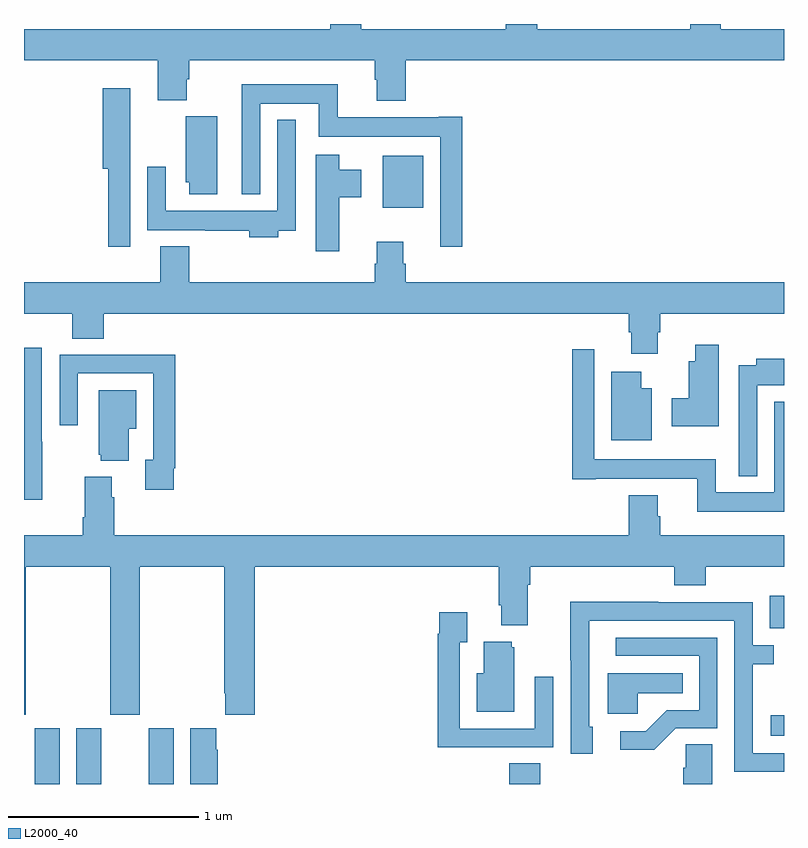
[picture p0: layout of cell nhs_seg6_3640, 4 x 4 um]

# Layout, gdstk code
import gdstk
lib = gdstk.Library(unit=1e-6, precision=1e-09)
def R(c, l, rs):  # rectangles x0, y0, x1, y1
    for r in rs: c.add(gdstk.rectangle(r[:2], r[2:], *l))
def P(c, l, *ps):  # polygons
    for p in ps: c.add(gdstk.Polygon(p, *l))
L2000_40 = (2000, 40)

nhs_seg6_3640 = lib.new_cell('nhs_seg6_3640')
R(nhs_seg6_3640, L2000_40, [(323.057,971.5,323.188,971.794), (323.276,971.5,323.407,971.794), (323.657,971.5,323.788,971.794), (325.553,971.5,325.718,971.609), (326.931,971.753,327,971.863), (326.925,972.321,327,972.49), (324.887,974.534,325.102,974.806)])
P(nhs_seg6_3640, L2000_40, [(325.01,975.308),(327,975.308),(327,975.472),(326.667,975.472),(326.667,975.5),(326.507,975.5),(326.507,975.472),(325.7,975.472),(325.7,975.5),(325.535,975.5),(325.535,975.472),(324.776,975.472),(324.776,975.5),(324.611,975.5),(324.611,975.472),(323,975.472),(323,975.308),(323.705,975.308),(323.705,975.1),(323.857,975.1),(323.857,975.209),(323.87,975.209),(323.87,975.308),(324.845,975.308),(324.845,975.207),(324.857,975.207),(324.857,975.095),(325.01,975.095)],
  [(325.307,975.013),(325.184,975.013),(325.184,975.01),(324.65,975.01),(324.65,975.184),(324.146,975.184),(324.146,974.603),(324.243,974.603),(324.243,975.08),(324.552,975.08),(324.552,974.906),(325.191,974.906),(325.191,974.328),(325.307,974.328)],
  [(323.559,974.842),(323.56,974.842),(323.56,975.163),(323.414,975.163),(323.414,974.738),(323.443,974.738),(323.443,974.328),(323.559,974.328)],
  [(324.016,975.015),(323.852,975.015),(323.852,974.667),(323.87,974.667),(323.87,974.604),(324.016,974.604)],
  [(324.337,974.412),(324.429,974.412),(324.429,974.995),(324.333,974.995),(324.333,974.518),(323.745,974.518),(323.745,974.749),(323.649,974.749),(323.649,974.414),(323.953,974.414),(323.953,974.412),(324.185,974.412),(324.185,974.378),(324.337,974.378)],
  [(324.658,974.587),(324.775,974.587),(324.775,974.734),(324.658,974.734),(324.658,974.812),(324.536,974.812),(324.536,974.304),(324.658,974.304)],
  [(326.335,973.878),(326.348,973.878),(326.348,973.976),(327,973.976),(327,974.14),(325.01,974.14),(325.01,974.238),(324.997,974.238),(324.997,974.353),(324.857,974.353),(324.857,974.238),(324.845,974.238),(324.845,974.14),(323.87,974.14),(323.87,974.329),(323.717,974.329),(323.717,974.14),(323,974.14),(323,973.976),(323.255,973.976),(323.255,973.843),(323.42,973.843),(323.42,973.976),(326.183,973.976),(326.183,973.878),(326.195,973.878),(326.195,973.764),(326.335,973.764)],
  [(326.656,973.813),(326.534,973.813),(326.534,973.726),(326.498,973.726),(326.498,973.53),(326.409,973.53),(326.409,973.382),(326.656,973.382)],
  [(323.097,973.301),(323.094,973.301),(323.094,973.795),(323,973.795),(323,972.995),(323.097,972.995)],
  [(327,973.513),(326.949,973.513),(326.949,973.036),(326.64,973.036),(326.64,973.21),(326.001,973.21),(326.001,973.789),(325.885,973.789),(325.885,973.104),(326.008,973.104),(326.008,973.106),(326.543,973.106),(326.543,972.932),(327,972.932)],
  [(323.788,973.162),(323.795,973.162),(323.795,973.76),(323.503,973.76),(323.503,973.758),(323.187,973.758),(323.187,973.389),(323.283,973.389),(323.283,973.662),(323.679,973.662),(323.679,973.206),(323.639,973.206),(323.639,973.05),(323.788,973.05)],
  [(326.859,973.598),(327,973.598),(327,973.738),(326.855,973.738),(326.855,973.705),(326.763,973.705),(326.763,973.121),(326.859,973.121)],
  [(326.305,973.582),(326.248,973.582),(326.248,973.669),(326.09,973.669),(326.09,973.31),(326.305,973.31)],
  [(323.551,973.37),(323.59,973.37),(323.59,973.573),(323.393,973.573),(323.393,973.233),(323.405,973.233),(323.405,973.202),(323.551,973.202)],
  [(323.01,972.644),(323.455,972.644),(323.455,971.865),(323.61,971.865),(323.61,972.644),(324.055,972.644),(324.055,971.977),(324.059,971.977),(324.059,971.865),(324.215,971.865),(324.215,972.644),(325.499,972.644),(325.499,972.442),(325.511,972.442),(325.511,972.335),(325.651,972.335),(325.651,972.548),(325.664,972.548),(325.664,972.644),(326.423,972.644),(326.423,972.545),(326.588,972.545),(326.588,972.644),(327,972.644),(327,972.808),(326.348,972.808),(326.348,972.909),(326.335,972.909),(326.335,973.021),(326.183,973.021),(326.183,972.808),(323.474,972.808),(323.474,973.01),(323.461,973.01),(323.461,973.117),(323.321,973.117),(323.321,972.904),(323.309,972.904),(323.309,972.808),(323,972.808),(323,971.865),(323.01,971.865)],
  [(327,971.661),(326.835,971.661),(326.835,972.13),(326.945,972.13),(326.945,972.231),(326.835,972.231),(326.835,972.456),(326.339,972.456),(326.339,972.458),(325.876,972.458),(325.876,972.151),(325.878,972.151),(325.878,971.658),(325.993,971.658),(325.993,971.802),(325.974,971.802),(325.974,972.106),(325.975,972.106),(325.975,972.36),(326.739,972.36),(326.739,971.565),(327,971.565)],
  [(325.469,971.694),(325.785,971.694),(325.785,972.064),(325.689,972.064),(325.689,971.79),(325.293,971.79),(325.293,972.247),(325.333,972.247),(325.333,972.403),(325.185,972.403),(325.185,972.29),(325.177,972.29),(325.177,971.693),(325.469,971.693)],
  [(326.43,971.793),(326.649,971.793),(326.649,972.27),(326.115,972.27),(326.115,972.174),(326.553,972.174),(326.553,971.889),(326.384,971.889),(326.273,971.778),(326.139,971.778),(326.139,971.681),(326.317,971.681)],
  [(325.579,972.219),(325.568,972.219),(325.568,972.25),(325.421,972.25),(325.421,972.082),(325.382,972.082),(325.382,971.879),(325.579,971.879)],
  [(326.229,971.978),(326.468,971.978),(326.468,972.082),(326.072,972.082),(326.072,971.87),(326.229,971.87)],
  [(324.02,971.681),(324.013,971.681),(324.013,971.794),(323.876,971.794),(323.876,971.5),(324.02,971.5)],
  [(326.623,971.708),(326.484,971.708),(326.484,971.585),(326.471,971.585),(326.471,971.5),(326.623,971.5)])

lib.write_gds('nhs_seg6_3640.gds')
